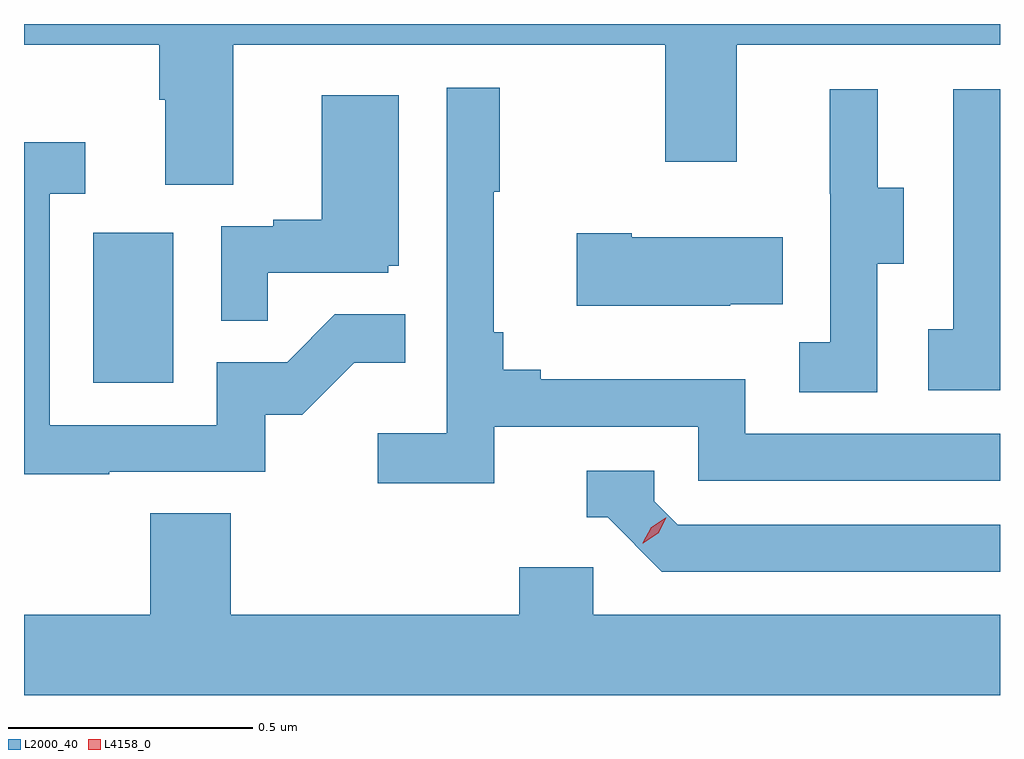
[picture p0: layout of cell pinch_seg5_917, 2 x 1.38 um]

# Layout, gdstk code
import gdstk
lib = gdstk.Library(unit=1e-6, precision=1e-09)
def R(c, l, rs):  # rectangles x0, y0, x1, y1
    for r in rs: c.add(gdstk.rectangle(r[:2], r[2:], *l))
def P(c, l, *ps):  # polygons
    for p in ps: c.add(gdstk.Polygon(p, *l))
L2000_40 = (2000, 40)
L4158_0 = (4158, 0)

pinch_seg5_917 = lib.new_cell('pinch_seg5_917')
R(pinch_seg5_917, L2000_40, [(875.498,890.7,875.662,891.007)])
P(pinch_seg5_917, L2000_40, [(875.785,891.392),(876.67,891.392),(876.67,891.153),(876.817,891.153),(876.817,891.392),(877.356,891.392),(877.356,891.435),(875.356,891.435),(875.356,891.392),(875.633,891.392),(875.633,891.28),(875.645,891.28),(875.645,891.106),(875.785,891.106)],
  [(876.32,890.61),(876.738,890.61),(876.738,890.499),(877.356,890.499),(877.356,890.595),(876.834,890.595),(876.834,890.707),(876.415,890.707),(876.415,890.726),(876.338,890.726),(876.338,890.803),(876.319,890.803),(876.319,891.091),(876.331,891.091),(876.331,891.304),(876.222,891.304),(876.222,890.596),(876.081,890.596),(876.081,890.494),(876.32,890.494)],
  [(877.356,891.301),(877.26,891.301),(877.26,890.81),(877.209,890.81),(877.209,890.685),(877.356,890.685)],
  [(877.104,890.944),(877.159,890.944),(877.159,891.099),(877.105,891.099),(877.105,891.301),(877.007,891.301),(877.007,891.087),(877.008,891.087),(877.008,890.783),(876.945,890.783),(876.945,890.68),(877.104,890.68)],
  [(875.855,890.925),(876.102,890.925),(876.102,890.94),(876.124,890.94),(876.124,891.289),(875.966,891.289),(875.966,891.034),(875.867,891.034),(875.867,891.021),(875.76,891.021),(875.76,890.827),(875.855,890.827)],
  [(875.531,890.517),(875.85,890.517),(875.85,890.634),(875.926,890.634),(876.033,890.741),(876.137,890.741),(876.137,890.84),(875.993,890.84),(875.895,890.742),(875.751,890.742),(875.751,890.613),(875.409,890.613),(875.409,891.087),(875.482,891.087),(875.482,891.193),(875.356,891.193),(875.356,890.512),(875.531,890.512)],
  [(876.803,890.861),(876.911,890.861),(876.911,890.998),(876.601,890.998),(876.601,891.006),(876.489,891.006),(876.489,890.858),(876.803,890.858)],
  [(877.356,890.409),(876.696,890.409),(876.648,890.457),(876.648,890.52),(876.509,890.52),(876.509,890.424),(876.552,890.424),(876.663,890.313),(877.356,890.313)],
  [(877.356,890.224),(876.522,890.224),(876.522,890.322),(876.371,890.322),(876.371,890.224),(875.78,890.224),(875.78,890.432),(875.615,890.432),(875.615,890.224),(875.356,890.224),(875.356,890.06),(877.356,890.06)])
P(pinch_seg5_917, L4158_0, [(876.624,890.371),(876.624,890.372),(876.641,890.404),(876.671,890.423),(876.672,890.423),(876.672,890.423),(876.656,890.391),(876.625,890.371)])

lib.write_gds('pinch_seg5_917.gds')
